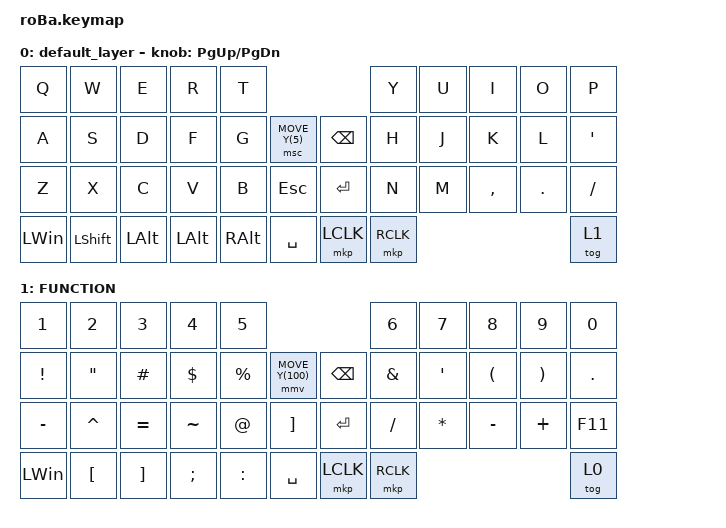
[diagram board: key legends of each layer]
#include <behaviors.dtsi>
#include <dt-bindings/zmk/keys.h>
#include <dt-bindings/zmk/pointing.h>

&mt {
    flavor = "balanced";
    quick-tap-ms = <0>;
};

&trackball {
    automouse-layer = <4>;
    scroll-layers = <5>;

    // arrows {
    //     layers = <3>;
    //     bindings =
    //         <&kp RIGHT_ARROW>,
    //         <&kp LEFT_ARROW>,
    //         <&kp UP_ARROW>,
    //         <&kp DOWN_ARROW>;
    //     tick = <10>;
    //     wait-ms = <5>;
    //     tap-ms = <5>;
    // };
};

/ {
    combos {
        compatible = "zmk,combos";

        tab {
            bindings = <&kp TAB>;
            key-positions = <11 12>;
        };

        shift_tab {
            bindings = <&kp LS(TAB)>;
            key-positions = <12 13>;
        };

        muhennkann {
            bindings = <&to_layer_0 INT_MUHENKAN>;
            key-positions = <11 10>;
        };

        double_quotation {
            bindings = <&kp DOUBLE_QUOTES>;
            key-positions = <20 21>;
        };

        eq {
            bindings = <&kp EQUAL>;
            key-positions = <24 25>;
        };
    };

    macros {
        to_layer_0: to_layer_0 {
            compatible = "zmk,behavior-macro-one-param";
            #binding-cells = <1>;
            bindings = <&to 0 &macro_param_1to1 &kp MACRO_PLACEHOLDER>;
            label = "TO_LAYER_0";
        };
    };

    behaviors {
        lt_to_layer_0: lt_to_layer_0 {
            compatible = "zmk,behavior-hold-tap";
            label = "LAYER_TAP_TO_0";
            bindings = <&mo>, <&to_layer_0>;

            #binding-cells = <2>;
            tapping-term-ms = <200>;
        };
    };

    keymap {
        compatible = "zmk,keymap";

        default_layer {
            bindings = <
&kp Q         &kp W           &kp E         &kp R         &kp T                                             &kp Y      &kp U  &kp I      &kp O    &kp P
&kp A         &kp S           &kp D         &kp F         &kp G          &msc MOVE_Y(5)      &kp BACKSPACE  &kp H      &kp J  &kp K      &kp L    &kp SQT
&kp Z         &kp X           &kp C         &kp V         &kp B          &kp ESCAPE          &kp ENTER      &kp N      &kp M  &kp COMMA  &kp DOT  &kp SLASH
&kp LEFT_WIN  &kp LEFT_SHIFT  &kp LEFT_ALT  &kp LEFT_ALT  &kp RIGHT_ALT  &kp SPACE           &mkp LCLK      &mkp RCLK                             &tog 1
            >;

            sensor-bindings = <&inc_dec_kp PG_UP PAGE_DOWN>;
        };

        FUNCTION {
            bindings = <
&kp NUMBER_1     &kp NUMBER_2       &kp NUMBER_3       &kp NUMBER_4   &kp NUMBER_5                                        &kp NUMBER_6   &kp NUMBER_7  &kp NUMBER_8          &kp NUMBER_9           &kp NUMBER_0
&kp EXCLAMATION  &kp DOUBLE_QUOTES  &kp HASH           &kp DOLLAR     &kp PERCENT   &mmv MOVE_Y(100)       &kp BACKSPACE  &kp AMPERSAND  &kp SQT       &kp LEFT_PARENTHESIS  &kp RIGHT_PARENTHESIS  &kp PERIOD
&kp MINUS        &kp CARET          &kp EQUAL          &kp TILDE      &kp AT_SIGN   &kp RIGHT_BRACKET      &kp ENTER      &kp SLASH      &kp ASTERISK  &kp MINUS             &kp PLUS               &kp F11
&kp LEFT_WIN     &kp LEFT_BRACKET   &kp RIGHT_BRACKET  &kp SEMICOLON  &kp COLON     &kp SPACE              &mkp LCLK      &mkp RCLK                                                                 &tog 0
            >;
        };
    };
};
